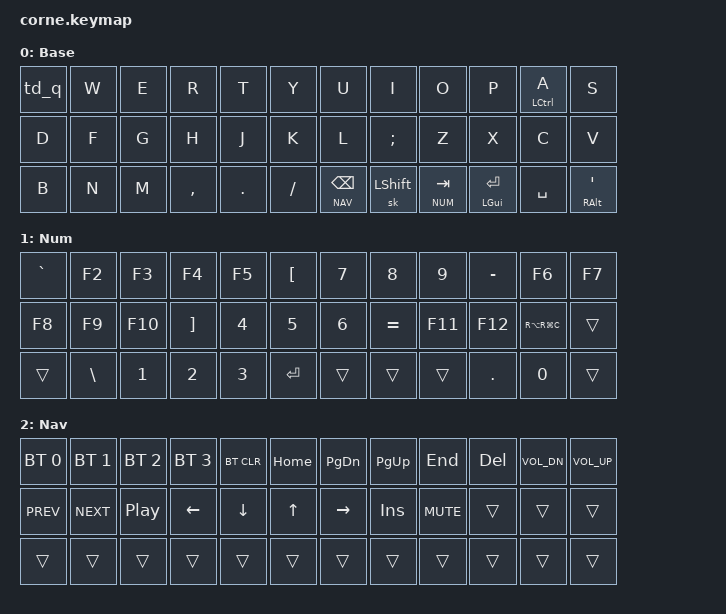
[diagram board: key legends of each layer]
/*
 * Copyright (c) 2020 The ZMK Contributors
 *
 * SPDX-License-Identifier: MIT
 *
 * Layout rationale lives in docs/keymap-decisions.md.
 *
 * Layers: 0 base, 1 num, 2 nav.
 *
 * Thumbs. Convention: "inner" = the small key nearest the alpha block;
 * "outer" = the big h:1.5 key that juts out farthest from the alphas.
 *   left:  BSPC/NAV    |  ⇧ one-shot  |  TAB/NUM   (inner | mid | outer-BIG)
 *   right: '           |  SPACE       |  RET/CMD   (inner | mid | outer-BIG)
 *
 * NAV rides on the left-inner Backspace (its arrows are on the right hand, so it
 * must be held by a left thumb). Trade-off: holding Backspace fires NAV instead
 * of auto-repeat-delete. ' moves to the right-inner thumb to match macOS QWERTY.
 *
 * TAB sits on the big left thumb (NUM on hold) so a stray hit on the middle key
 * only fires a one-shot Shift, which is harmless. CMD/Enter moved to the big
 * right thumb so the thumb no longer has to reach under the hand for ⌘.
 *
 * Symbols: no symbol layer. Hold NUM (left outer) + fat-finger ⇧ (left mid),
 * then tap a number on the right hand -> Shift+number = the macOS symbol.
 */

#include <behaviors.dtsi>
#include <dt-bindings/zmk/bt.h>
#include <dt-bindings/zmk/keys.h>

#define BASE 0
#define NUM  1
#define NAV  2

/ {
    chosen { zmk,matrix-transform = &five_column_transform; };
};

/ {
    combos {
        compatible = "zmk,combos";

        /* Tap both inner home keys (G + H) to toggle Caps Word. */

        caps_word {
            bindings = <&caps_word>;
            key-positions = <14 15>;
            layers = <BASE>;
        };
    };

    behaviors {
        // tap: Q  /  double-tap: ESC

        td_q: td_q {
            compatible = "zmk,behavior-tap-dance";
            label = "TD_Q";
            #binding-cells = <0>;
            tapping-term-ms = <200>;
            bindings = <&kp Q>, <&kp ESC>;
        };

        // left-hand home-row mod (only used for Ctrl on A, mirroring MacBook Caps->Ctrl)

        hml: hml {
            compatible = "zmk,behavior-hold-tap";
            label = "HML";
            #binding-cells = <2>;
            flavor = "balanced";
            tapping-term-ms = <200>;
            quick-tap-ms = <175>;
            require-prior-idle-ms = <150>;
            bindings = <&kp>, <&kp>;

            hold-trigger-on-release;
            hold-trigger-key-positions = <5 6 7 8 9 15 16 17 18 19 25 26 27 28 29>;
        };
    };

    keymap {
        compatible = "zmk,keymap";

        base_layer {
            display-name = "Base";
            bindings = <
&td_q  &kp W  &kp E  &kp R      &kp T    &kp Y       &kp U         &kp I          &kp O        &kp P         &hml LCTRL A  &kp S
&kp D  &kp F  &kp G  &kp H      &kp J    &kp K       &kp L         &kp SEMICOLON  &kp Z        &kp X         &kp C         &kp V
&kp B  &kp N  &kp M  &kp COMMA  &kp DOT  &kp FSLH    &lt NAV BSPC  &sk LSHFT      &lt NUM TAB  &mt LGUI RET  &kp SPACE     &mt RIGHT_ALT SQT
            >;
        };

        num_layer {
            display-name = "Num";
            bindings = <
&kp GRAVE  &kp F2    &kp F3   &kp F4    &kp F5  &kp LBKT     &kp N7  &kp N8     &kp N9   &kp MINUS  &kp F6         &kp F7
&kp F8     &kp F9    &kp F10  &kp RBKT  &kp N4  &kp N5       &kp N6  &kp EQUAL  &kp F11  &kp F12    &kp RA(RG(C))  &trans
&trans     &kp BSLH  &kp N1   &kp N2    &kp N3  &kp ENTER    &trans  &trans     &trans   &kp DOT    &kp N0         &trans
            >;
        };

        nav_layer {
            display-name = "Nav";
            bindings = <
&bt BT_SEL 0  &bt BT_SEL 1  &bt BT_SEL 2  &bt BT_SEL 3  &bt BT_CLR  &kp HOME    &kp PG_DN  &kp PG_UP  &kp END     &kp DEL  &kp C_VOL_DN  &kp C_VOL_UP
&kp C_PREV    &kp C_NEXT    &kp C_PP      &kp LEFT      &kp DOWN    &kp UP      &kp RIGHT  &kp INS    &kp C_MUTE  &trans   &trans        &trans
&trans        &trans        &trans        &trans        &trans      &trans      &trans     &trans     &trans      &trans   &trans        &trans
            >;
        };
    };
};
